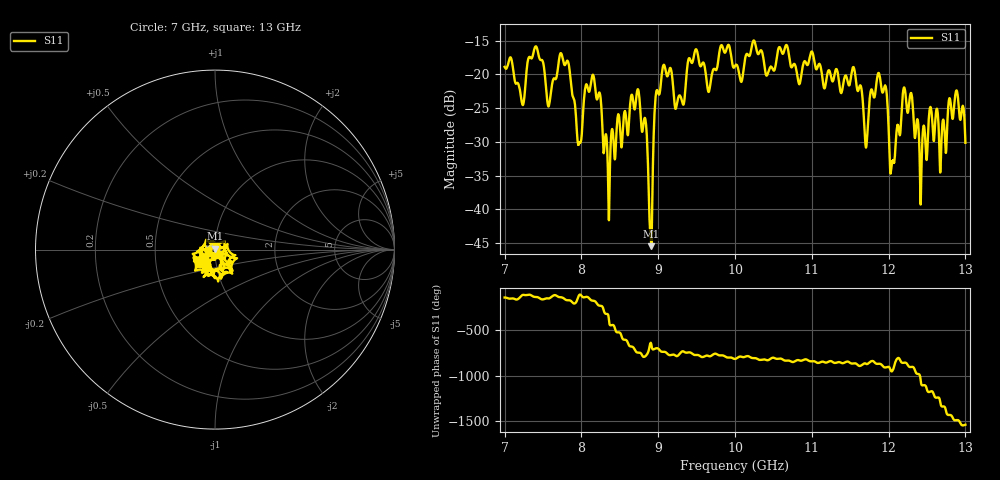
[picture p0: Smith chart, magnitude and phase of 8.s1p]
[Version] 2.0
! Rohde & Schwarz Vector Network Analyzer
! Rohde-Schwarz,ZNL20-2Port,1323001220200009,1.71.1.10-23.02.1.238
! Trace info:
! Nominal Param -> Actual Exported Buffer
! S11 -> S22
! Created: GMT+3 2024-09-24 16:38:09
# Hz S DB R 50
[Number of Ports] 1
! freq[Hz]  S11[mag dB]  S11[ang]
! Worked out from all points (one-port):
!   6001 points, 7 GHz to 13 GHz, reference 50 ohm
!   lowest |S11| = -45.5 dB at 8.911 GHz (marker M1), VSWR 1.01, Z = 50.2 + j0.481 ohm
!   |S11| at or under -10 dB: start of sweep to end of sweep
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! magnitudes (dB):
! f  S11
! 7 GHz  -18.9
! 7.235 GHz  -24.5
! 7.41 GHz  -15.9
! 7.574 GHz  -24.7
! 7.75 GHz  -17.3
! 7.971 GHz  -30.2
! 8.146 GHz  -20.1
! 8.351 GHz  -38.0
! 8.5 GHz  -27.5
! 8.739 GHz  -22.2
! 8.837 GHz  -26.9
! 8.911 GHz  -45.5
! 8.982 GHz  -22.3
! 9.078 GHz  -18.6
! 9.25 GHz  -24.0
! 9.489 GHz  -16.3
! 9.657 GHz  -22.6
! 10 GHz  -18.7
! 10.75 GHz  -18.8
! 11.5 GHz  -21.2
! 11.71 GHz  -30.8
! 11.88 GHz  -19.9
! 11.97 GHz  -22.0
! 12.04 GHz  -33.1
! 12.25 GHz  -25.7
! 12.42 GHz  -38.4
! 12.88 GHz  -22.4
! 13 GHz  -30.1
